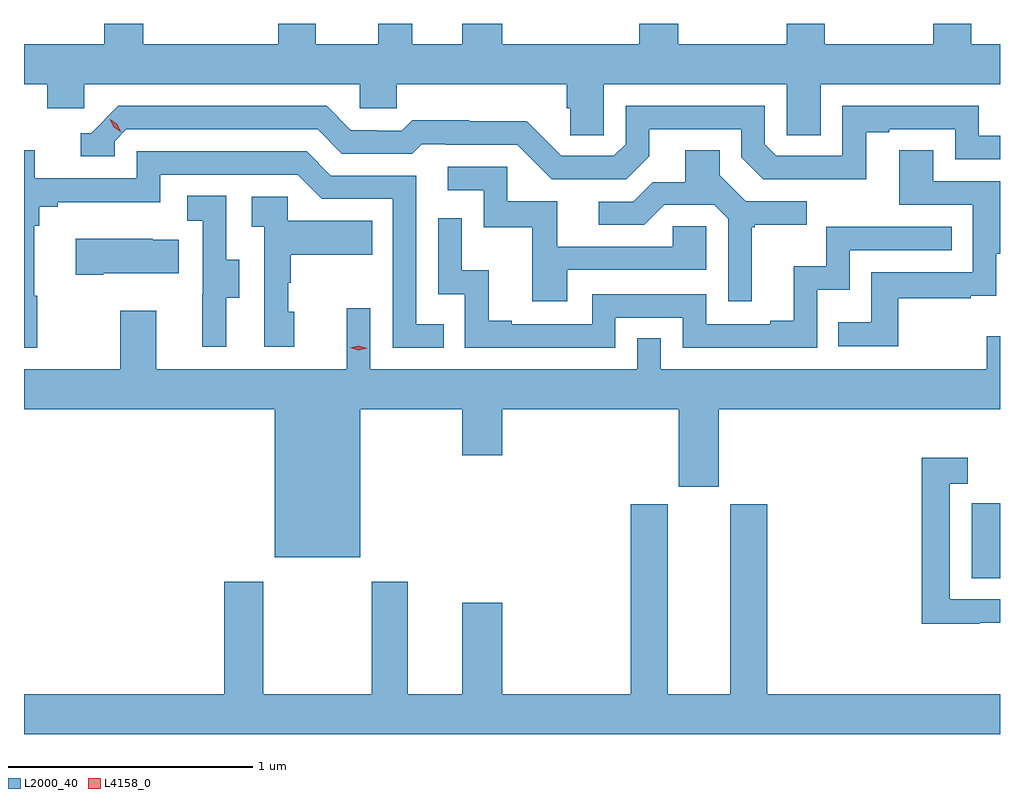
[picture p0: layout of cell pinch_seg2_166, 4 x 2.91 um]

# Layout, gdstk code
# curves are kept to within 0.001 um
import gdstk
lib = gdstk.Library(unit=1e-6, precision=1e-09)
def R(c, l, rs):  # rectangles x0, y0, x1, y1
    for r in rs: c.add(gdstk.rectangle(r[:2], r[2:], *l))
def P(c, l, *ps):  # polygons
    for p in ps: c.add(gdstk.Polygon(p, *l))
L2000_40 = (2000, 40)
L4158_0 = (4158, 0)

pinch_seg2_166 = lib.new_cell('pinch_seg2_166')
R(pinch_seg2_166, L2000_40, [(1102.16,626.964,1102.276,627.271)])
P(pinch_seg2_166, L2000_40, [(1099.471,629.236),(1099.319,629.236),(1099.319,629.152),(1098.764,629.152),(1098.764,629.236),(1098.604,629.236),(1098.604,629.152),(1098.276,629.152),(1098.276,628.988),(1098.371,628.988),(1098.371,628.89),(1098.522,628.89),(1098.522,628.988),(1099.653,628.988),(1099.653,628.89),(1099.803,628.89),(1099.803,628.988),(1100.501,628.988),(1100.501,628.89),(1100.515,628.89),(1100.515,628.78),(1100.652,628.78),(1100.652,628.988),(1101.402,628.988),(1101.402,628.78),(1101.541,628.78),(1101.541,628.988),(1102.276,628.988),(1102.276,629.152),(1102.158,629.152),(1102.158,629.236),(1102.003,629.236),(1102.003,629.152),(1101.558,629.152),(1101.558,629.236),(1101.403,629.236),(1101.403,629.152),(1100.958,629.152),(1100.958,629.236),(1100.798,629.236),(1100.798,629.152),(1100.236,629.152),(1100.236,629.236),(1100.072,629.236),(1100.072,629.152),(1099.867,629.152),(1099.867,629.236),(1099.727,629.236),(1099.727,629.152),(1099.471,629.152)],
  [(1101.727,628.791),(1101.823,628.791),(1101.823,628.803),(1102.092,628.803),(1102.092,628.68),(1102.276,628.68),(1102.276,628.776),(1102.188,628.776),(1102.188,628.899),(1101.63,628.899),(1101.63,628.695),(1101.36,628.695),(1101.312,628.743),(1101.312,628.899),(1100.742,628.899),(1100.742,628.743),(1100.694,628.695),(1100.478,628.695),(1100.336,628.837),(1100.1,628.837),(1100.1,628.84),(1099.867,628.84),(1099.825,628.797),(1099.722,628.797),(1099.722,628.8),(1099.615,628.8),(1099.516,628.899),(1098.663,628.899),(1098.552,628.788),(1098.509,628.788),(1098.509,628.692),(1098.648,628.692),(1098.648,628.755),(1098.696,628.803),(1099.479,628.803),(1099.578,628.704),(1099.867,628.704),(1099.906,628.743),(1100.005,628.743),(1100.005,628.74),(1100.298,628.74),(1100.439,628.599),(1100.745,628.599),(1100.839,628.693),(1100.839,628.803),(1101.216,628.803),(1101.216,628.689),(1101.306,628.599),(1101.727,628.598)],
  [(1101.259,628.401),(1101.271,628.401),(1101.271,628.412),(1101.484,628.412),(1101.484,628.509),(1101.234,628.509),(1101.127,628.616),(1101.127,628.718),(1100.987,628.718),(1100.987,628.586),(1100.852,628.586),(1100.772,628.506),(1100.631,628.506),(1100.631,628.413),(1100.818,628.413),(1100.899,628.494),(1101.105,628.494),(1101.162,628.437),(1101.162,628.098),(1101.259,628.098)],
  [(1101.859,628.11),(1102.157,628.11),(1102.157,628.121),(1102.26,628.121),(1102.26,628.293),(1102.276,628.293),(1102.276,628.59),(1102.003,628.59),(1102.003,628.718),(1101.863,628.718),(1101.863,628.494),(1102.164,628.494),(1102.164,628.218),(1101.748,628.218),(1101.748,628.012),(1101.613,628.012),(1101.613,627.915),(1101.859,627.915)],
  [(1098.331,628.121),(1098.319,628.121),(1098.319,628.409),(1098.338,628.409),(1098.338,628.486),(1098.415,628.486),(1098.415,628.505),(1098.834,628.505),(1098.834,628.617),(1099.398,628.617),(1099.497,628.518),(1099.788,628.518),(1099.788,627.909),(1099.997,627.909),(1099.997,628.005),(1099.884,628.005),(1099.884,628.614),(1099.534,628.614),(1099.435,628.713),(1098.738,628.713),(1098.738,628.602),(1098.32,628.602),(1098.32,628.718),(1098.276,628.718),(1098.276,627.909),(1098.331,627.909)],
  [(1100.503,628.227),(1101.072,628.227),(1101.072,628.407),(1100.935,628.407),(1100.935,628.323),(1100.461,628.323),(1100.461,628.509),(1100.256,628.509),(1100.256,628.65),(1100.013,628.65),(1100.013,628.554),(1100.16,628.554),(1100.16,628.401),(1100.359,628.401),(1100.359,628.098),(1100.503,628.098)],
  [(1099.105,628.114),(1099.159,628.114),(1099.159,628.269),(1099.104,628.269),(1099.104,628.532),(1098.945,628.532),(1098.945,628.429),(1099.008,628.429),(1099.008,628.125),(1099.007,628.125),(1099.007,627.912),(1099.105,627.912)],
  [(1099.384,628.056),(1099.359,628.056),(1099.359,628.175),(1099.369,628.175),(1099.369,628.289),(1099.703,628.289),(1099.703,628.429),(1099.356,628.429),(1099.356,628.527),(1099.209,628.527),(1099.209,628.403),(1099.26,628.403),(1099.26,627.912),(1099.384,627.912)],
  [(1100.7,628.032),(1100.976,628.032),(1100.976,627.909),(1101.528,627.909),(1101.528,628.145),(1101.66,628.145),(1101.66,628.308),(1102.079,628.308),(1102.079,628.404),(1101.564,628.404),(1101.564,628.243),(1101.431,628.243),(1101.431,628.018),(1101.335,628.018),(1101.335,628.005),(1101.072,628.005),(1101.072,628.128),(1100.604,628.128),(1100.604,628.005),(1100.275,628.005),(1100.275,628.018),(1100.18,628.018),(1100.18,628.226),(1100.07,628.226),(1100.07,628.438),(1099.974,628.438),(1099.974,628.128),(1100.082,628.128),(1100.082,627.909),(1100.7,627.909)],
  [(1098.601,628.214),(1098.911,628.214),(1098.911,628.351),(1098.803,628.351),(1098.803,628.354),(1098.489,628.354),(1098.489,628.207),(1098.601,628.207)],
  [(1099.654,627.656),(1100.072,627.656),(1100.072,627.468),(1100.236,627.468),(1100.236,627.656),(1100.96,627.656),(1100.96,627.339),(1101.124,627.339),(1101.124,627.656),(1102.276,627.656),(1102.276,627.955),(1102.222,627.955),(1102.222,627.82),(1100.886,627.82),(1100.886,627.947),(1100.79,627.947),(1100.79,627.82),(1099.695,627.82),(1099.695,628.069),(1099.598,628.069),(1099.598,627.82),(1098.817,627.82),(1098.817,628.06),(1098.67,628.06),(1098.67,627.82),(1098.276,627.82),(1098.276,627.656),(1099.304,627.656),(1099.304,627.05),(1099.654,627.05)],
  [(1102.193,626.781),(1102.276,626.781),(1102.276,626.877),(1102.071,626.877),(1102.071,627.351),(1102.144,627.351),(1102.144,627.457),(1101.955,627.457),(1101.955,626.776),(1102.193,626.776)],
  [(1102.276,626.488),(1101.323,626.488),(1101.323,627.267),(1101.17,627.267),(1101.17,626.488),(1100.914,626.488),(1100.914,627.267),(1100.762,627.267),(1100.762,626.488),(1100.236,626.488),(1100.236,626.863),(1100.072,626.863),(1100.072,626.488),(1099.849,626.488),(1099.849,626.95),(1099.702,626.95),(1099.702,626.488),(1099.257,626.488),(1099.257,626.95),(1099.097,626.95),(1099.097,626.488),(1098.276,626.488),(1098.276,626.324),(1102.276,626.324)])
P(pinch_seg2_166, L4158_0, [(1098.674,628.791),(1098.644,628.811),(1098.628,628.844),(1098.628,628.844),(1098.629,628.844),(1098.659,628.824),(1098.674,628.792),(1098.674,628.791)],
  [(1099.647,627.898),(1099.612,627.908),(1099.612,627.908),(1099.612,627.908),(1099.647,627.917),(1099.682,627.907),(1099.683,627.907),(1099.682,627.907)])

lib.write_gds('pinch_seg2_166.gds')
